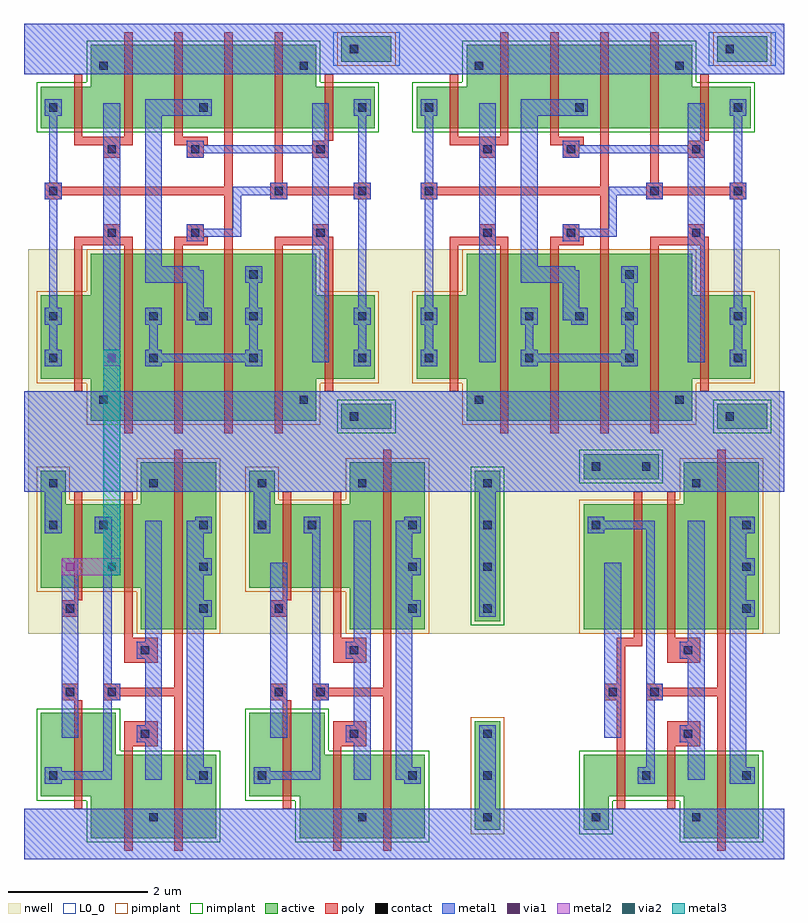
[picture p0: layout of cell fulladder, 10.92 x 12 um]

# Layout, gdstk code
import gdstk
lib = gdstk.Library(unit=1e-6, precision=5e-09)
def R(c, l, rs):  # rectangles x0, y0, x1, y1
    for r in rs: c.add(gdstk.rectangle(r[:2], r[2:], *l))
def A(c, l, x, y, w, h, nx, ny, dx, dy):  # array of equal rectangles
    R(c, l, [(x+i*dx, y+j*dy, x+i*dx+w, y+j*dy+h) for i in range(nx) for j in range(ny)])
L0_0 = (0, 0)
nwell = (3, 0)
active = (6, 0)
poly = (17, 0)
pimplant = (25, 0)
nimplant = (26, 0)
contact = (30, 0)
metal1 = (31, 0)
metal2 = (32, 0)
metal3 = (33, 0)
via1 = (51, 0)
via2 = (52, 0)

rowend_x0 = lib.new_cell('rowend_x0')
R(rowend_x0, nwell, [(0,3.24,0.6,6.12)])
R(rowend_x0, metal1, [(-0.06,0,0.66,0.72), (-0.06,5.28,0.66,6)])

tie_x0 = lib.new_cell('tie_x0')
A(tie_x0, L0_0, 0.36, 0.36, 0.48, 0.48, 1, 3, 0, 0.6)
R(tie_x0, L0_0, [(0.36,0.42,0.84,1.98)])
A(tie_x0, nwell, 0.36, 3.36, 0.48, 0.48, 1, 4, 0, 0.6)
R(tie_x0, nwell, [(0,3.24,1.2,6.12), (0.36,3.42,0.84,5.58)])
A(tie_x0, active, 0.42, 0.42, 0.36, 0.36, 1, 3, 0, 0.6)
A(tie_x0, active, 0.42, 3.42, 0.36, 0.36, 1, 4, 0, 0.6)
R(tie_x0, active, [(0.42,0.54,0.78,1.86), (0.42,3.54,0.78,5.46)])
A(tie_x0, pimplant, 0.36, 0.36, 0.48, 0.48, 1, 3, 0, 0.6)
R(tie_x0, pimplant, [(0.36,0.48,0.84,1.92)])
A(tie_x0, nimplant, 0.36, 3.36, 0.48, 0.48, 1, 4, 0, 0.6)
R(tie_x0, nimplant, [(0.36,3.48,0.84,5.52)])
A(tie_x0, contact, 0.54, 0.54, 0.12, 0.12, 1, 3, 0, 0.6)
A(tie_x0, contact, 0.54, 3.54, 0.12, 0.12, 1, 4, 0, 0.6)
A(tie_x0, metal1, 0.48, 0.48, 0.24, 0.24, 1, 3, 0, 0.6)
A(tie_x0, metal1, 0.48, 3.48, 0.24, 0.24, 1, 4, 0, 0.6)
R(tie_x0, metal1, [(-0.06,0,1.26,0.72), (0.48,0.54,0.72,1.86), (0.48,3.54,0.72,5.46), (-0.06,5.28,1.26,6)])

o2_x2 = lib.new_cell('o2_x2')
R(o2_x2, nwell, [(0,3.24,3,6.12), (0.36,3.24,1.56,5.16), (0.84,3.24,2.04,5.16), (1.56,3.24,2.76,5.76), (0.06,5.4,1.38,5.88), (0.12,5.4,0.6,5.88), (0.84,5.4,1.32,5.88)])
A(o2_x2, active, 2.4, 3.48, 0.24, 0.24, 1, 3, 0, 0.6)
R(o2_x2, active, [(1.62,0.3,1.98,1.5), (1.86,0.3,2.46,1.5), (2.34,0.3,2.7,1.5), (0.18,0.42,0.54,1.5), (0.24,0.48,0.48,0.72), (1.68,0.48,1.92,0.72), (1.68,0.48,1.92,0.72), (0.42,0.9,1.02,1.5), (0.9,0.9,1.26,1.5), (1.14,0.9,1.74,1.5), (0.96,1.08,1.2,1.32), (2.4,1.08,2.64,1.32), (0.18,3.3,0.54,5.1), (0.42,3.3,0.78,5.1), (0.54,3.3,1.38,5.1), (1.02,3.3,1.86,5.1), (1.62,3.3,1.98,5.7), (1.74,3.3,2.58,5.7), (2.34,3.3,2.7,5.7), (0.24,4.68,0.48,4.92), (1.68,5.28,1.92,5.52), (0.18,5.46,1.26,5.82), (0.18,5.46,0.54,5.82), (0.9,5.46,1.26,5.82)])
R(o2_x2, poly, [(2.1,0.12,2.22,1.68), (0.66,0.72,0.78,1.68), (1.38,0.72,1.5,1.68), (0.66,1.62,0.78,3.18), (1.38,1.62,1.86,1.98), (2.1,1.62,2.22,3.18), (1.56,1.68,1.8,1.92), (0.48,2.28,0.72,2.52), (1.08,2.28,1.32,2.52), (1.14,2.34,2.22,2.46), (1.38,2.82,1.86,3.18), (1.56,2.88,1.8,3.12), (0.66,3.06,1.02,3.18), (0.9,3.12,1.02,5.28), (1.38,3.12,1.5,5.28), (2.1,3.12,2.22,5.88)])
A(o2_x2, pimplant, 2.34, 3.42, 0.36, 0.36, 1, 3, 0, 0.6)
R(o2_x2, pimplant, [(0.12,3.24,0.6,5.16), (0.36,3.24,0.84,5.16), (0.42,3.24,1.5,5.16), (0.9,3.24,1.98,5.16), (1.56,3.24,2.04,5.76), (1.62,3.24,2.7,5.76), (2.28,3.24,2.76,5.76), (0.18,4.62,0.54,4.98), (1.62,5.22,1.98,5.58)])
R(o2_x2, nimplant, [(1.56,0.24,2.04,1.56), (1.8,0.24,2.52,1.56), (2.28,0.24,2.76,1.56), (0.12,0.36,0.6,1.56), (0.18,0.42,0.54,0.78), (1.62,0.42,1.98,0.78), (1.62,0.42,1.98,0.78), (0.36,0.84,1.08,1.56), (0.84,0.84,1.32,1.56), (1.08,0.84,1.8,1.56), (0.9,1.02,1.26,1.38), (2.34,1.02,2.7,1.38), (0.12,5.4,1.32,5.88), (0.12,5.4,0.6,5.88), (0.84,5.4,1.32,5.88)])
A(o2_x2, contact, 2.46, 3.54, 0.12, 0.12, 1, 3, 0, 0.6)
R(o2_x2, contact, [(0.3,0.54,0.42,0.66), (1.74,0.54,1.86,0.66), (1.74,0.54,1.86,0.66), (1.02,1.14,1.14,1.26), (2.46,1.14,2.58,1.26), (1.62,1.74,1.74,1.86), (0.54,2.34,0.66,2.46), (1.14,2.34,1.26,2.46), (1.62,2.94,1.74,3.06), (0.3,4.74,0.42,4.86), (1.74,5.34,1.86,5.46), (0.3,5.58,0.42,5.7), (1.02,5.58,1.14,5.7)])
A(o2_x2, metal1, 2.4, 3.48, 0.24, 0.24, 1, 3, 0, 0.6)
R(o2_x2, metal1, [(-0.06,0,3.06,0.72), (0.24,0.48,0.48,0.72), (1.68,0.48,1.92,0.72), (1.68,0.48,1.92,0.72), (0.96,1.08,1.2,1.32), (2.28,1.08,2.52,4.92), (2.4,1.08,2.64,1.32), (1.08,1.14,1.2,4.86), (1.68,1.14,1.92,4.86), (1.74,1.14,1.86,4.86), (2.28,1.14,2.52,4.86), (1.56,1.68,1.8,1.92), (0.48,1.74,0.72,4.26), (0.54,1.74,0.66,4.26), (0.48,2.28,0.72,2.52), (1.08,2.28,1.32,2.52), (1.56,2.88,1.8,3.12), (0.24,4.68,0.48,4.92), (0.3,4.74,1.2,4.86), (-0.06,5.28,3.06,6), (1.68,5.28,1.92,5.52), (0.24,5.52,0.48,5.76), (0.96,5.52,1.2,5.76)])

xr2_x1 = lib.new_cell('xr2_x1')
R(xr2_x1, L0_0, [(4.38,0.12,5.34,0.6), (4.44,0.12,4.92,0.6)])
A(xr2_x1, nwell, 0.84, 3.24, 1.2, 2.52, 4, 1, 0.72, 0)
R(xr2_x1, nwell, [(0,3.24,5.4,6.12), (0.12,3.84,1.32,5.16), (3.72,3.84,4.92,5.16), (4.38,5.4,5.34,5.88), (4.44,5.4,4.92,5.88)])
A(xr2_x1, active, 0.9, 0.3, 0.36, 1.2, 5, 1, 0.72, 0)
A(xr2_x1, active, 1.14, 0.3, 0.6, 1.2, 4, 1, 0.72, 0)
A(xr2_x1, active, 0.9, 3.3, 0.36, 2.4, 5, 1, 0.72, 0)
A(xr2_x1, active, 1.02, 3.3, 0.84, 2.4, 4, 1, 0.72, 0)
A(xr2_x1, active, 1.68, 4.08, 0.24, 0.24, 3, 1, 0.72, 0)
A(xr2_x1, active, 0.24, 4.68, 0.24, 0.24, 3, 1, 1.44, 0)
R(xr2_x1, active, [(4.5,0.18,5.22,0.54), (4.5,0.18,4.86,0.54), (0.96,0.48,1.2,0.72), (3.84,0.48,4.08,0.72), (0.18,0.9,0.54,1.5), (0.42,0.9,1.02,1.5), (4.02,0.9,4.62,1.5), (4.62,0.9,4.98,1.5), (0.24,1.08,0.48,1.32), (2.4,1.08,2.64,1.32), (4.68,1.08,4.92,1.32), (3.12,3.48,3.36,3.72), (0.18,3.9,0.54,5.1), (0.3,3.9,1.14,5.1), (3.9,3.9,4.74,5.1), (4.62,3.9,4.98,5.1), (0.24,4.08,0.48,4.32), (4.68,4.08,4.92,4.32), (4.68,4.68,4.92,4.92), (0.96,5.28,1.2,5.52), (3.84,5.28,4.08,5.52), (4.5,5.46,5.22,5.82), (4.5,5.46,4.86,5.82)])
A(xr2_x1, poly, 1.38, 0.12, 0.12, 1.56, 4, 1, 0.72, 0)
A(xr2_x1, poly, 1.38, 3.12, 0.12, 2.76, 4, 1, 0.72, 0)
R(xr2_x1, poly, [(0.66,0.72,0.78,1.68), (4.26,0.72,4.38,1.68), (0.66,1.62,1.5,1.74), (2.1,1.62,2.58,1.74), (2.82,1.62,2.94,3.18), (3.54,1.62,3.66,2.46), (1.08,1.68,1.32,1.92), (2.28,1.68,2.52,1.92), (4.08,1.68,4.32,1.92), (0.24,2.28,0.48,2.52), (3.48,2.28,3.72,2.52), (4.68,2.28,4.92,2.52), (0.3,2.34,2.94,2.46), (3.54,2.34,4.86,2.46), (1.08,2.88,1.32,3.12), (2.28,2.88,2.52,3.12), (4.08,2.88,4.32,3.12), (0.66,3.06,0.78,3.78), (0.66,3.06,1.5,3.18), (2.1,3.06,2.58,3.18), (3.54,3.06,4.38,3.18), (4.26,3.06,4.38,3.78), (0.66,3.72,0.78,5.28), (4.26,3.72,4.38,5.28)])
A(xr2_x1, pimplant, 0.84, 3.24, 0.48, 2.52, 5, 1, 0.72, 0)
A(xr2_x1, pimplant, 0.9, 3.24, 1.08, 2.52, 4, 1, 0.72, 0)
A(xr2_x1, pimplant, 1.62, 4.02, 0.36, 0.36, 3, 1, 0.72, 0)
A(xr2_x1, pimplant, 0.18, 4.62, 0.36, 0.36, 3, 1, 1.44, 0)
R(xr2_x1, pimplant, [(4.44,0.12,5.28,0.6), (4.44,0.12,4.92,0.6), (3.06,3.42,3.42,3.78), (0.12,3.84,0.6,5.16), (0.18,3.84,1.26,5.16), (3.78,3.84,4.86,5.16), (4.56,3.84,5.04,5.16), (0.18,4.02,0.54,4.38), (4.62,4.02,4.98,4.38), (4.62,4.62,4.98,4.98), (0.9,5.22,1.26,5.58), (3.78,5.22,4.14,5.58)])
A(xr2_x1, nimplant, 0.84, 0.24, 0.48, 1.32, 5, 1, 0.72, 0)
A(xr2_x1, nimplant, 1.08, 0.24, 0.72, 1.32, 4, 1, 0.72, 0)
R(xr2_x1, nimplant, [(0.9,0.42,1.26,0.78), (3.78,0.42,4.14,0.78), (0.12,0.84,0.6,1.56), (0.36,0.84,1.08,1.56), (3.96,0.84,4.68,1.56), (4.56,0.84,5.04,1.56), (0.18,1.02,0.54,1.38), (2.34,1.02,2.7,1.38), (4.62,1.02,4.98,1.38), (4.44,5.4,5.28,5.88), (4.44,5.4,4.92,5.88)])
A(xr2_x1, contact, 1.74, 4.14, 0.12, 0.12, 3, 1, 0.72, 0)
A(xr2_x1, contact, 0.3, 4.74, 0.12, 0.12, 3, 1, 1.44, 0)
R(xr2_x1, contact, [(4.62,0.3,4.74,0.42), (1.02,0.54,1.14,0.66), (3.9,0.54,4.02,0.66), (0.3,1.14,0.42,1.26), (2.46,1.14,2.58,1.26), (4.74,1.14,4.86,1.26), (1.14,1.74,1.26,1.86), (2.34,1.74,2.46,1.86), (4.14,1.74,4.26,1.86), (0.3,2.34,0.42,2.46), (3.54,2.34,3.66,2.46), (4.74,2.34,4.86,2.46), (1.14,2.94,1.26,3.06), (2.34,2.94,2.46,3.06), (4.14,2.94,4.26,3.06), (3.18,3.54,3.3,3.66), (0.3,4.14,0.42,4.26), (4.74,4.14,4.86,4.26), (4.74,4.74,4.86,4.86), (1.02,5.34,1.14,5.46), (3.9,5.34,4.02,5.46), (4.62,5.58,4.74,5.7)])
A(xr2_x1, metal1, 1.68, 4.08, 0.24, 0.24, 3, 1, 0.72, 0)
A(xr2_x1, metal1, 0.24, 4.68, 0.24, 0.24, 3, 1, 1.44, 0)
R(xr2_x1, metal1, [(-0.06,0,5.46,0.72), (4.56,0.24,4.8,0.48), (0.96,0.48,1.2,0.72), (3.84,0.48,4.08,0.72), (0.24,1.08,0.48,1.32), (1.68,1.08,1.92,3.72), (1.74,1.08,2.58,1.32), (2.34,1.08,2.46,1.32), (2.4,1.08,2.64,1.32), (4.68,1.08,4.92,1.32), (0.3,1.14,0.42,4.26), (1.08,1.14,1.32,4.86), (1.14,1.14,1.26,4.86), (1.68,1.14,1.92,3.66), (4.08,1.14,4.32,4.86), (4.14,1.14,4.26,4.86), (4.74,1.14,4.86,4.26), (1.08,1.68,1.32,1.92), (2.28,1.68,2.52,1.92), (4.08,1.68,4.32,1.92), (2.34,1.74,4.26,1.86), (0.24,2.28,0.48,2.52), (3.48,2.28,3.72,2.52), (4.68,2.28,4.92,2.52), (2.94,2.34,3.06,3.06), (2.94,2.34,3.66,2.46), (1.08,2.88,1.32,3.12), (2.28,2.88,2.52,3.12), (4.08,2.88,4.32,3.12), (2.34,2.94,3.06,3.06), (1.74,3.48,2.46,3.72), (3.12,3.48,3.36,3.72), (2.28,3.54,2.52,4.26), (2.28,3.54,2.52,4.26), (3.18,3.54,3.3,4.86), (0.24,4.08,0.48,4.32), (4.68,4.08,4.92,4.32), (0.3,4.14,0.42,4.86), (1.74,4.14,1.86,4.86), (4.74,4.14,4.86,4.86), (4.68,4.68,4.92,4.92), (1.74,4.74,3.3,4.86), (-0.06,5.28,5.46,6), (0.96,5.28,1.2,5.52), (3.84,5.28,4.08,5.52), (4.56,5.52,4.8,5.76)])

a2_x2 = lib.new_cell('a2_x2')
R(a2_x2, nwell, [(0,3.24,3,6.12), (1.56,3.24,2.76,5.76), (0.12,3.84,1.32,5.16), (0.84,3.84,2.04,5.16)])
A(a2_x2, active, 2.4, 3.48, 0.24, 0.24, 1, 3, 0, 0.6)
R(a2_x2, active, [(0.9,0.3,1.26,2.1), (1.14,0.3,1.74,1.5), (1.62,0.3,1.98,1.5), (1.86,0.3,2.46,1.5), (2.34,0.3,2.7,1.5), (1.68,0.48,1.92,0.72), (0.18,0.9,0.54,2.1), (0.42,0.9,1.02,2.1), (0.24,1.08,0.48,1.32), (2.4,1.08,2.64,1.32), (1.62,3.3,1.98,5.7), (1.74,3.3,2.58,5.7), (2.34,3.3,2.7,5.7), (0.18,3.9,0.54,5.58), (0.3,3.9,1.14,5.1), (0.9,3.9,1.26,5.1), (1.02,3.9,1.86,5.1), (0.24,4.68,0.48,4.92), (0.96,4.68,1.2,4.92), (0.24,5.28,0.48,5.52), (1.68,5.28,1.92,5.52)])
R(a2_x2, poly, [(1.38,0.12,1.5,1.68), (2.1,0.12,2.22,1.68), (0.66,0.72,0.78,2.28), (1.38,1.62,1.86,1.98), (2.1,1.62,2.22,3.18), (1.56,1.68,1.8,1.92), (0.48,2.28,0.72,2.52), (1.08,2.28,1.32,2.52), (1.14,2.34,2.22,2.46), (1.38,2.82,1.5,3.78), (1.38,2.82,1.86,3.18), (1.56,2.88,1.8,3.12), (2.1,3.12,2.22,5.88), (0.48,3.48,0.72,3.72), (0.66,3.72,0.78,5.28), (1.38,3.72,1.5,5.28)])
A(a2_x2, pimplant, 2.34, 3.42, 0.36, 0.36, 1, 3, 0, 0.6)
R(a2_x2, pimplant, [(1.56,3.24,2.04,5.76), (1.62,3.24,2.7,5.76), (2.28,3.24,2.76,5.76), (0.12,3.84,0.6,5.64), (0.18,3.84,1.26,5.16), (0.84,3.84,1.32,5.16), (0.9,3.84,1.98,5.16), (0.18,4.62,0.54,4.98), (0.9,4.62,1.26,4.98), (0.18,5.22,0.54,5.58), (1.62,5.22,1.98,5.58)])
R(a2_x2, nimplant, [(0.84,0.24,1.32,2.16), (1.08,0.24,1.8,1.56), (1.56,0.24,2.04,1.56), (1.8,0.24,2.52,1.56), (2.28,0.24,2.76,1.56), (1.62,0.42,1.98,0.78), (0.12,0.84,0.6,2.16), (0.36,0.84,1.08,2.16), (0.18,1.02,0.54,1.38), (2.34,1.02,2.7,1.38)])
A(a2_x2, contact, 2.46, 3.54, 0.12, 0.12, 1, 3, 0, 0.6)
R(a2_x2, contact, [(1.74,0.54,1.86,0.66), (0.3,1.14,0.42,1.26), (2.46,1.14,2.58,1.26), (1.62,1.74,1.74,1.86), (0.54,2.34,0.66,2.46), (1.14,2.34,1.26,2.46), (1.62,2.94,1.74,3.06), (0.54,3.54,0.66,3.66), (0.3,4.74,0.42,4.86), (1.02,4.74,1.14,4.86), (0.3,5.34,0.42,5.46), (1.74,5.34,1.86,5.46)])
A(a2_x2, metal1, 2.4, 3.48, 0.24, 0.24, 1, 3, 0, 0.6)
R(a2_x2, metal1, [(-0.06,0,3.06,0.72), (-0.06,0,3.06,0.72), (1.68,0.48,1.92,0.72), (0.24,1.08,0.48,1.32), (2.4,1.08,2.64,1.32), (0.3,1.14,1.2,1.26), (1.08,1.14,1.2,4.86), (1.68,1.14,1.92,4.86), (1.74,1.14,1.86,4.86), (2.28,1.14,2.52,4.86), (2.28,1.14,2.52,4.86), (1.56,1.68,1.8,1.92), (0.48,1.74,0.72,4.26), (0.54,1.74,0.66,4.26), (0.48,2.28,0.72,2.52), (1.08,2.28,1.32,2.52), (1.56,2.88,1.8,3.12), (0.48,3.48,0.72,3.72), (0.24,4.68,0.48,4.92), (0.96,4.68,1.2,4.92), (0.24,4.74,0.48,5.46), (-0.06,5.28,3.06,6), (-0.06,5.28,3.06,6), (0.24,5.28,0.48,5.52), (1.68,5.28,1.92,5.52)])

fulladder = lib.new_cell('fulladder')
R(fulladder, metal1, [(0.48,4.08,0.72,4.32), (1.08,7.08,1.32,7.32)])
R(fulladder, metal2, [(0.48,4.08,1.32,4.32), (0.48,4.08,0.72,4.32), (1.08,4.08,1.32,4.32), (1.08,7.08,1.32,7.32)])
R(fulladder, metal3, [(1.08,4.08,1.32,7.32), (1.08,4.08,1.32,4.32)])
R(fulladder, via1, [(0.54,4.14,0.66,4.26), (1.14,7.14,1.26,7.26)])
R(fulladder, via2, [(1.14,4.14,1.26,4.26)])
fulladder.add(gdstk.Reference(rowend_x0, (7.2,0)))
fulladder.add(gdstk.Reference(tie_x0, (6,0)))
fulladder.add(gdstk.Reference(o2_x2, (7.8,0)))
fulladder.add(gdstk.Reference(xr2_x1, (5.4,12), x_reflection=True))
fulladder.add(gdstk.Reference(xr2_x1, (0,12), x_reflection=True))
fulladder.add(gdstk.Reference(a2_x2, (3,0)))
fulladder.add(gdstk.Reference(a2_x2, (0,0)))

lib.write_gds('fulladder.gds')
